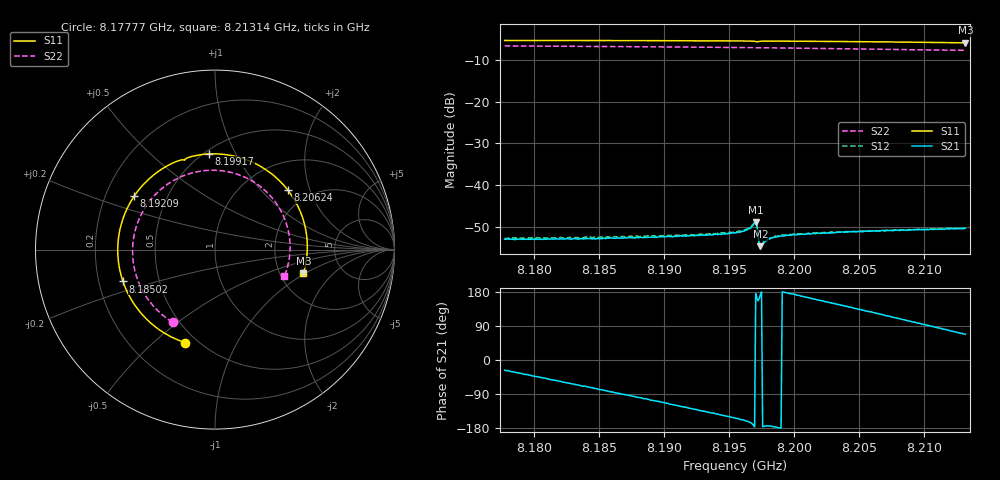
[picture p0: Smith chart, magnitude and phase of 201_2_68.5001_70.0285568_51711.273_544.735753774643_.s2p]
#  HZ  S  RI  R  50.00
! Rohde & Schwarz Vector Network Analyzer
! Rohde-Schwarz,ZNB20-2Port,1311601062101988,3.16
! Created: UTC 3/20/2024, 4:57:37 PM
! freq[Hz]  re:S11  im:S11  re:S21  im:S21  re:S12  im:S12  re:S22  im:S22
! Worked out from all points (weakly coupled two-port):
!   401 points, 8.17777 GHz to 8.21314 GHz, reference 50 ohm
!   highest |S21| = -48.88 dB at 8.19705 GHz (marker M1); lowest = -54.6 dB at 8.1974 GHz (marker M2)
!   lowest |S11| = -5.9 dB at 8.21314 GHz (marker M3), VSWR 3.08, Z = 134 - j48.2 ohm
!   |S11| at or under -10 dB: nowhere
!   |S22| runs from -7.7 to -6.6 dB; largest |S21 - S12| = 0.00018
!   S11 on the Smith chart (normalised r, x): 8.17777 GHz: 0.43, -0.63; 8.18502 GHz: 0.30, -0.15; 8.19209 GHz: 0.32, +0.27; 8.19917 GHz: 0.53, +0.79; 8.20624 GHz: 1.56, +1.43; 8.21314 GHz: 2.69, -0.96
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8.177766e9  -0.1678 -0.5178  0.00201 -0.00101  0.00206 -0.00103  -0.2362 -0.4046
8.180596e9  -0.3387 -0.4252  0.00155 -0.00164  0.0016 -0.0017  -0.3554 -0.3004
8.183691e9  -0.4759 -0.2616  0.00085 -0.00213  0.000838 -0.0022  -0.4373 -0.1498
8.185018e9  -0.5129 -0.1773  0.000476 -0.00222  0.000489 -0.00232  -0.4545 -0.0781
8.187317e9  -0.5416 -0.0199  -0.000161 -0.00235  -0.000213 -0.00244  -0.4558 0.0493
8.189617e9  -0.523 0.1392  -0.000786 -0.00227  -0.000926 -0.00227  -0.4222 0.172
8.192093e9  -0.4511 0.2966  -0.00154 -0.00196  -0.00163 -0.00197  -0.3496 0.2883
8.195454e9  -0.2807 0.4584  -0.00239 -0.00121  -0.00252 -0.00116  -0.2011 0.4006
8.196339e9  -0.2243 0.4872  -0.00274 -0.000931  -0.00284 -0.000847  -0.155 0.4192
8.196958e9  -0.1797 0.5002  -0.00349 -0.000213  -0.00358 -9.21e-05  -0.1215 0.4289
8.197046e9  -0.1734 0.4994  -0.00359 0.000313  -0.00363 0.000446  -0.1167 0.43
8.1974e9  -0.1605 0.5076  -0.00184 0.000237  -0.00186 0.000323  -0.0974 0.4343
8.197488e9  -0.1543 0.5108  -0.00186 1.26e-05  -0.00197 8.29e-05  -0.0926 0.4353
8.198196e9  -0.1038 0.5247  -0.0023 -0.000242  -0.00232 -9e-05  -0.0529 0.4405
8.199169e9  -0.0348 0.5329  -0.00245 4.34e-05  -0.00252 0.000127  0.00225 0.442
8.20138e9  0.1205 0.5177  -0.0025 0.000826  -0.00247 0.000961  0.1255 0.4194
8.203768e9  0.2747 0.4509  -0.00219 0.00163  -0.00214 0.00171  0.2467 0.3557
8.206244e9  0.4045 0.3334  -0.00158 0.00232  -0.00149 0.00238  0.3459 0.2515
8.207305e9  0.4466 0.2707  -0.00122 0.00258  -0.00116 0.00263  0.3768 0.197
8.210224e9  0.511 0.0742  -7.97e-05 0.00295  8.88e-06 0.00296  0.4182 0.0282
8.211639e9  0.5126 -0.0269  0.000512 0.00294  0.000574 0.00295  0.4126 -0.0579
8.213142e9  0.4922 -0.1328  0.00115 0.00282  0.00122 0.0028  0.3872 -0.1469
